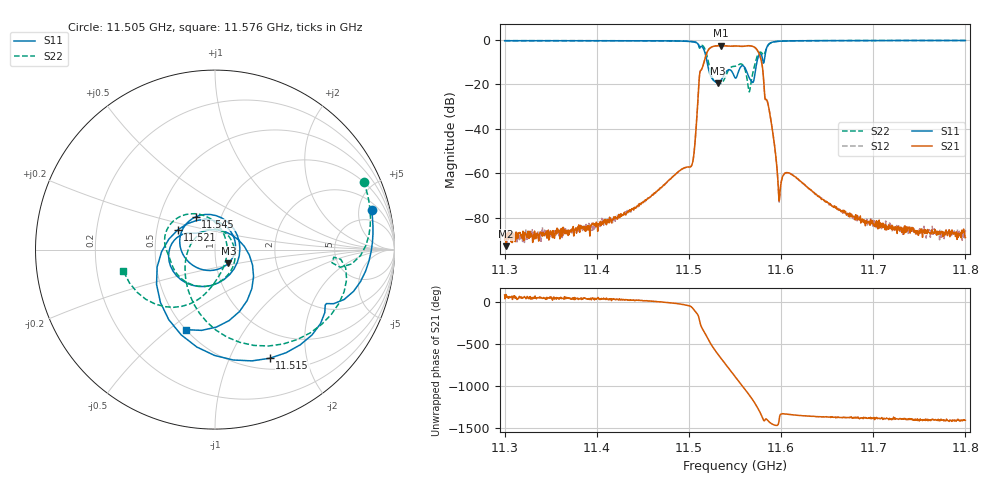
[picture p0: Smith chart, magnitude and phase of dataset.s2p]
# Hz S DB R 50
! Planar, S50244, 24171007, 25.4.1/6
! Date: 15.10.2025 10:08:51
! Data: Format (Calibration Info)
! Freq	S11:dB/Ang(F2)	S21:dB/Ang(F2)	S12:dB/Ang(F2)	S22:dB/Ang(F2)
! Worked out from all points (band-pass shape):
!   1001 points, 11.3 GHz to 11.8 GHz, reference 50 ohm
!   highest |S21| = -2.54 dB at 11.534 GHz (marker M1); lowest = -92.8 dB at 11.302 GHz (marker M2)
!   |S21| within 3 dB of the highest: 11.51972 GHz to 11.57544 GHz (55.72 MHz wide, 0.483 % of centre)
!   lowest |S11| = -19.5 dB at 11.531 GHz (marker M3), VSWR 1.24, Z = 57.3 - j8.79 ohm
!   |S11| at or under -10 dB: 11.51976 GHz to 11.57374 GHz (53.98 MHz wide, 0.468 % of centre); 11.5806 GHz to 11.58143 GHz (828.7 kHz wide, 0.00716 % of centre)
!   |S22| runs from -23.4 to -0.2 dB; largest |S21 - S12| = 0.013
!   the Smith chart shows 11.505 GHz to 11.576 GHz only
!   S11 on the Smith chart (normalised r, x): 11.505 GHz: 2.91, +6.77; 11.515 GHz: 0.64, -1.43; 11.521 GHz: 0.64, +0.15; 11.545 GHz: 0.76, +0.29; 11.576 GHz: 0.50, -0.58
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1.13e10  -0.33 145.4  -90.01 81.7  -88.47 47.5  -0.32 143.1
1.13015e10  -0.33 145.1  -92.75 86.3  -91.49 61.1  -0.32 142.8
1.13835e10  -0.34 127.1  -84.90 27.8  -84.40 37.5  -0.32 125.8
1.1467e10  -0.37 89.6  -67.38 0.9  -67.54 1.0  -0.35 90.9
1.15055e10  -0.92 14.3  -51.03 -95.3  -51.14 -95.1  -0.80 24.6
1.1515e10  -3.38 -63.3  -11.95 32.6  -11.90 33.1  -2.59 -29.1
1.1521e10  -12.59 152.0  -4.50 -86.9  -4.47 -87.8  -9.65 -110.4
1.1526e10  -17.83 39.8  -2.94 -178.1  -3.01 -178.5  -17.60 158.2
1.15315e10  -19.47 -45.5  -2.57 97.2  -2.60 97.3  -19.20 58.1
1.15345e10  -18.46 -102.7  -2.54 53.9  -2.54 53.9  -19.59 20.1
1.15395e10  -14.81 -172.5  -2.63 -17.3  -2.58 -17.6  -16.59 -53.8
1.1545e10  -13.49 120.3  -2.79 -95.3  -2.80 -96.2  -12.46 -127.8
1.155e10  -16.98 17.1  -2.69 -167.0  -2.82 -167.5  -11.85 -166.1
1.1557e10  -11.74 -145.8  -2.86 93.4  -2.90 93.6  -10.79 153.9
1.15635e10  -15.10 148.5  -2.60 3.2  -2.58 3.1  -18.70 71.9
1.15695e10  -19.11 75.4  -2.91 -88.1  -2.93 -88.8  -14.55 -91.4
1.15765e10  -6.48 -109.8  -6.55 142.4  -6.66 142.7  -5.61 -166.8
1.1584e10  -3.93 -47.4  -26.72 49.0  -26.74 49.2  -3.97 -40.3
1.1598e10  -0.56 -148.9  -72.37 50.5  -72.93 49.6  -0.57 -153.5
1.16335e10  -0.32 164.3  -67.89 80.8  -67.96 81.7  -0.30 160.6
1.1717e10  -0.26 130.9  -83.17 41.0  -83.24 49.5  -0.24 128.9
1.18e10  -0.23 113.2  -88.84 33.9  -85.58 27.1  -0.21 112.0
